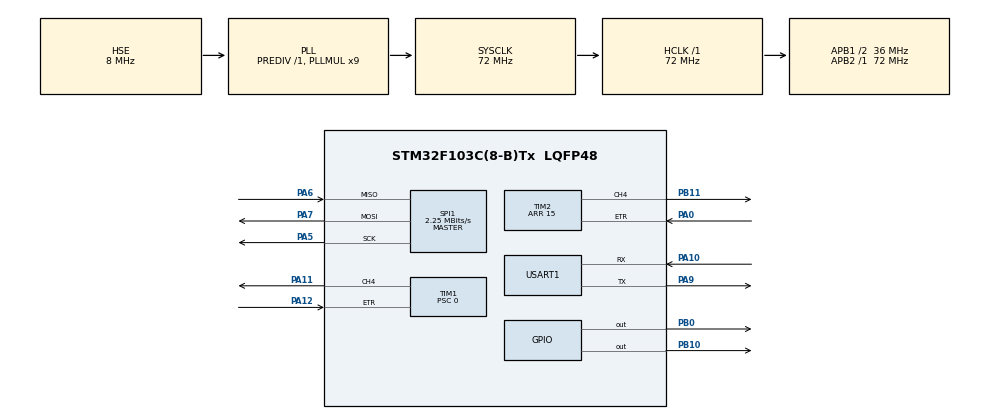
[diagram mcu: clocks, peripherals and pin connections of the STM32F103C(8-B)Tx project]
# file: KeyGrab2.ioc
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Dma.Request0=USART1_RX
Dma.USART1_RX.0.Direction=DMA_PERIPH_TO_MEMORY
Dma.USART1_RX.0.Instance=DMA1_Channel5
Dma.USART1_RX.0.MemDataAlignment=DMA_MDATAALIGN_BYTE
Dma.USART1_RX.0.MemInc=DMA_MINC_ENABLE
Dma.USART1_RX.0.Mode=DMA_NORMAL
Dma.USART1_RX.0.PeriphDataAlignment=DMA_PDATAALIGN_BYTE
Dma.USART1_RX.0.PeriphInc=DMA_PINC_DISABLE
Dma.USART1_RX.0.Priority=DMA_PRIORITY_LOW
Mcu.Family=STM32F1
Mcu.Name=STM32F103C(8-B)Tx
Mcu.Package=LQFP48
NVIC.DMA1_Channel5_IRQn=true\:0\:0\:false\:false\:true\:false\:true
NVIC.PriorityGroup=NVIC_PRIORITYGROUP_4
PA0-WKUP.Signal=S_TIM2_CH1_ETR
PA10.Mode=Asynchronous
PA10.Signal=USART1_RX
PA11.GPIO_Speed=GPIO_SPEED_FREQ_HIGH
PA11.Signal=S_TIM1_CH4
PA12.Signal=S_TIM1_ETR
PA13.Mode=Serial_Wire
PA13.Signal=SYS_JTMS-SWDIO
PA14.Mode=Serial_Wire
PA14.Signal=SYS_JTCK-SWCLK
PA5.Mode=Full_Duplex_Master
PA5.Signal=SPI1_SCK
PA6.Mode=Full_Duplex_Master
PA6.Signal=SPI1_MISO
PA7.Mode=Full_Duplex_Master
PA7.Signal=SPI1_MOSI
PA9.Mode=Asynchronous
PA9.Signal=USART1_TX
PB0.GPIO_Speed=GPIO_SPEED_FREQ_HIGH
PB0.Signal=GPIO_Output
PB10.PinState=GPIO_PIN_RESET
PB10.Signal=GPIO_Output
PB11.GPIO_Speed=GPIO_SPEED_FREQ_HIGH
PB11.Signal=S_TIM2_CH4
PD0-OSC_IN.Mode=HSE-External-Oscillator
PD0-OSC_IN.Signal=RCC_OSC_IN
PD1-OSC_OUT.Mode=HSE-External-Oscillator
PD1-OSC_OUT.Signal=RCC_OSC_OUT
ProjectManager.HeapSize=0x400
ProjectManager.StackSize=0x800
ProjectManager.TargetToolchain=EWARM V7
RCC.AHBFreq_Value=72000000
RCC.APB1CLKDivider=RCC_HCLK_DIV2
RCC.APB1Freq_Value=36000000
RCC.APB1TimFreq_Value=72000000
RCC.APB2Freq_Value=72000000
RCC.APB2TimFreq_Value=72000000
RCC.HCLKFreq_Value=72000000
RCC.PLLMUL=RCC_PLL_MUL9
RCC.PLLSourceVirtual=RCC_PLLSOURCE_HSE
RCC.SYSCLKFreq_VALUE=72000000
RCC.SYSCLKSource=RCC_SYSCLKSOURCE_PLLCLK
RCC.USBFreq_Value=72000000
SH.S_TIM1_CH4.0=TIM1_CH4,Output Compare4 CH4
SH.S_TIM1_ETR.0=TIM1_ETR,ClockSourceETR_Mode2
SH.S_TIM2_CH1_ETR.0=TIM2_ETR,ClockSourceETR_Mode2
SH.S_TIM2_CH4.0=TIM2_CH4,PWM Generation4 CH4
SPI1.BaudRatePrescaler=SPI_BAUDRATEPRESCALER_32
SPI1.CalculateBaudRate=2.25 MBits/s
SPI1.Direction=SPI_DIRECTION_2LINES
SPI1.FirstBit=SPI_FIRSTBIT_LSB
SPI1.Mode=SPI_MODE_MASTER
SPI1.VirtualType=VM_MASTER
TIM1.Channel-Output\ Compare4\ CH4=TIM_CHANNEL_4
TIM1.OCIdleState_4=TIM_OCIDLESTATE_SET
TIM1.OCMode_4=TIM_OCMODE_TOGGLE
TIM1.OCPolarity_4=TIM_OCPOLARITY_LOW
TIM1.Period=65535
TIM1.Prescaler=0
TIM1.Pulse-Output\ Compare4\ CH4=65535
TIM1.TIM_MasterOutputTrigger=TIM_TRGO_OC4REF
TIM1.TIM_MasterSlaveMode=TIM_MASTERSLAVEMODE_DISABLE
TIM2.Channel-PWM\ Generation4\ CH4=TIM_CHANNEL_4
TIM2.OCPolarity_4=TIM_OCPOLARITY_HIGH
TIM2.Period=15
TIM2.Pulse-PWM\ Generation4\ CH4=7
USART1.VirtualMode=VM_ASYNC
VP_TIM2_VS_ClockSourceITR.Mode=TriggerSource_ITR0
VP_TIM2_VS_ControllerModeGated.Mode=Gated Mode
board=custom

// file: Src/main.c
/* USER CODE BEGIN Header */
//#define DEBUG
/* USER CODE END Header */

#include "main.h"

/* USER CODE BEGIN Includes */

#include "pn532.h"
#include "Vcard.h"
#include "MifClass.h"

/* USER CODE END Includes */

SPI_HandleTypeDef hspi1;

TIM_HandleTypeDef htim1;
TIM_HandleTypeDef htim2;

UART_HandleTypeDef huart1;
DMA_HandleTypeDef hdma_usart1_rx;

/* USER CODE BEGIN PV */

extern uint8_t UidCL1[], uidLength;  //  UID
extern uint8_t Tx[512];
extern uint16_t  fv_1;
uint8_t Wait_Tag[] = {"\n\rWaiting Tag"};
uint8_t N_con_A[] = {"\n\rNot connected PN532_A\n\r"};
uint8_t CRLF[] = {'\n','\r'};
uint8_t RxOK;

/* USER CODE END PV */

void SystemClock_Config(void);
static void MX_GPIO_Init(void);
static void MX_DMA_Init(void);
static void MX_TIM2_Init(void);
static void MX_SPI1_Init(void);
static void MX_USART1_UART_Init(void);
static void MX_TIM1_Init(void);

/* USER CODE BEGIN 0 */

void HAL_UART_RxCpltCallback( UART_HandleTypeDef *  huart ) {

	RxOK = 1;
}

/* USER CODE END 0 */

int main(void)
{
  /* USER CODE BEGIN 1 */
	  uint8_t t, tmp, i = 0;

  /* USER CODE END 1 */

  /* MCU Configuration--------------------------------------------------------*/

  /* Reset of all peripherals, Initializes the Flash interface and the Systick. */
  HAL_Init();

  /* Configure the system clock */
  SystemClock_Config();

  /* Initialize all configured peripherals */
  MX_GPIO_Init();
  MX_DMA_Init();
  MX_TIM2_Init();
  MX_SPI1_Init();
  MX_USART1_UART_Init();
  MX_TIM1_Init();
  /* USER CODE BEGIN 2 */

  CS_LOW(&hspi1);
  HAL_Delay(1);
  CS_HIGH(&hspi1);

  for(i = 0;(i < 5) && !(fv_1 = getFirmwareVersion(&hspi1)); i++);			// Проверка подключения PN532
  if(i == 5){
	   HAL_UART_Transmit(&huart1,N_con_A,(sizeof(N_con_A) - 1),1000);
	   HAL_SPI_MspDeInit(&hspi1);
	   HAL_TIM_Base_MspDeInit(&htim1);
	   HAL_TIM_Base_MspDeInit(&htim2);
	   HAL_UART_MspDeInit(&huart1);
	   HAL_GPIO_DeInit(GPIOB, GPIO_PIN_0|GPIO_PIN_10);
	   while(1){
		   __WFI();
	   }
  }
  SAM_Config(&hspi1);

#ifndef DEBUG

  RxOK = 0;
  HAL_UART_Receive_DMA(&huart1, Tx, 11);
  HAL_UART_Transmit(&huart1,CRLF,sizeof(CRLF),1000);
  while(1){	// Ожидание UID
	  if( readPassiveTargetID(&hspi1,PN532_MIFARE_ISO14443A, UidCL1, &uidLength, 500) ){
		t = sprintf((char *) Tx,"\n\rFound  Tag with  UID    %2.2X %2.2X %2.2X %2.2X\n\r",UidCL1[0],UidCL1[1],UidCL1[2],UidCL1[3]);
		HAL_UART_Transmit(&huart1, (uint8_t *)Tx, t, 1000);
		break;
	  }
	  if( RxOK ){
		  Tx[11] = 0;
		  int s = sscanf((char *)Tx,"%hhx %hhx %hhx %hhx",&UidCL1[0], &UidCL1[1], &UidCL1[2], &UidCL1[3]);
		  if(s == 4){
			t = sprintf((char *) Tx,"\n\rInput  UID    %2.2X %2.2X %2.2X %2.2X\n\r",UidCL1[0],UidCL1[1],UidCL1[2],UidCL1[3]);
			HAL_UART_Transmit(&huart1, (uint8_t *)Tx, t, 1000);
			break;
		  }else{
			t = sprintf((char *) Tx,"\n\rERROR Input  UID\n\r");
			HAL_UART_Transmit(&huart1, (uint8_t *)Tx, t, 1000);
			  RxOK = 0;
			  HAL_UART_Receive_DMA(&huart1, Tx, 11);
			continue;
		  }
	  }
	  tmp ='.';
	  HAL_UART_Transmit(&huart1,&tmp,1,1000);
	  HAL_Delay(20);
	  for(i = 0;(i < 5) && !(fv_1 = getFirmwareVersion(&hspi1)); i++);
	  if(i == 5){
		   HAL_UART_Transmit(&huart1,N_con_A,(sizeof(N_con_A) - 1),500);
		   while(1);
	  }
	  SAM_Config(&hspi1);

  }

#endif   //DEBUG

  /* USER CODE END 2 */

  /* Infinite loop */
  /* USER CODE BEGIN WHILE */
	InitVirtCard();
	InitPN532_1();
	MifareClassicAppInit1K();

  while (1)
  {
	  vc();

    /* USER CODE END WHILE */

  }
}

void SystemClock_Config(void)
{
  RCC_OscInitTypeDef RCC_OscInitStruct = {0};
  RCC_ClkInitTypeDef RCC_ClkInitStruct = {0};

  /** Initializes the CPU, AHB and APB busses clocks
  */
  RCC_OscInitStruct.OscillatorType = RCC_OSCILLATORTYPE_HSE;
  RCC_OscInitStruct.HSEState = RCC_HSE_ON;
  RCC_OscInitStruct.HSEPredivValue = RCC_HSE_PREDIV_DIV1;
  RCC_OscInitStruct.HSIState = RCC_HSI_ON;
  RCC_OscInitStruct.PLL.PLLState = RCC_PLL_ON;
  RCC_OscInitStruct.PLL.PLLSource = RCC_PLLSOURCE_HSE;
  RCC_OscInitStruct.PLL.PLLMUL = RCC_PLL_MUL9;
  if (HAL_RCC_OscConfig(&RCC_OscInitStruct) != HAL_OK)
  {
    Error_Handler();
  }
  /** Initializes the CPU, AHB and APB busses clocks
  */
  RCC_ClkInitStruct.ClockType = RCC_CLOCKTYPE_HCLK|RCC_CLOCKTYPE_SYSCLK
                              |RCC_CLOCKTYPE_PCLK1|RCC_CLOCKTYPE_PCLK2;
  RCC_ClkInitStruct.SYSCLKSource = RCC_SYSCLKSOURCE_PLLCLK;
  RCC_ClkInitStruct.AHBCLKDivider = RCC_SYSCLK_DIV1;
  RCC_ClkInitStruct.APB1CLKDivider = RCC_HCLK_DIV2;
  RCC_ClkInitStruct.APB2CLKDivider = RCC_HCLK_DIV1;

  if (HAL_RCC_ClockConfig(&RCC_ClkInitStruct, FLASH_LATENCY_2) != HAL_OK)
  {
    Error_Handler();
  }
}

static void MX_SPI1_Init(void)
{

  /* SPI1 parameter configuration*/
  hspi1.Instance = SPI1;
  hspi1.Init.Mode = SPI_MODE_MASTER;
  hspi1.Init.Direction = SPI_DIRECTION_2LINES;
  hspi1.Init.DataSize = SPI_DATASIZE_8BIT;
  hspi1.Init.CLKPolarity = SPI_POLARITY_LOW;
  hspi1.Init.CLKPhase = SPI_PHASE_1EDGE;
  hspi1.Init.NSS = SPI_NSS_SOFT;
  hspi1.Init.BaudRatePrescaler = SPI_BAUDRATEPRESCALER_32;
  hspi1.Init.FirstBit = SPI_FIRSTBIT_LSB;
  hspi1.Init.TIMode = SPI_TIMODE_DISABLE;
  hspi1.Init.CRCCalculation = SPI_CRCCALCULATION_DISABLE;
  hspi1.Init.CRCPolynomial = 10;
  if (HAL_SPI_Init(&hspi1) != HAL_OK)
  {
    Error_Handler();
  }

}

static void MX_TIM1_Init(void)
{

  TIM_ClockConfigTypeDef sClockSourceConfig = {0};
  TIM_MasterConfigTypeDef sMasterConfig = {0};
  TIM_OC_InitTypeDef sConfigOC = {0};
  TIM_BreakDeadTimeConfigTypeDef sBreakDeadTimeConfig = {0};

  htim1.Instance = TIM1;
  htim1.Init.Prescaler = 0;
  htim1.Init.CounterMode = TIM_COUNTERMODE_UP;
  htim1.Init.Period = 65535;
  htim1.Init.ClockDivision = TIM_CLOCKDIVISION_DIV1;
  htim1.Init.RepetitionCounter = 0;
  htim1.Init.AutoReloadPreload = TIM_AUTORELOAD_PRELOAD_DISABLE;
  if (HAL_TIM_Base_Init(&htim1) != HAL_OK)
  {
    Error_Handler();
  }
  sClockSourceConfig.ClockSource = TIM_CLOCKSOURCE_ETRMODE2;
  sClockSourceConfig.ClockPolarity = TIM_CLOCKPOLARITY_NONINVERTED;
  sClockSourceConfig.ClockPrescaler = TIM_CLOCKPRESCALER_DIV1;
  sClockSourceConfig.ClockFilter = 0;
  if (HAL_TIM_ConfigClockSource(&htim1, &sClockSourceConfig) != HAL_OK)
  {
    Error_Handler();
  }
  if (HAL_TIM_OC_Init(&htim1) != HAL_OK)
  {
    Error_Handler();
  }
  sMasterConfig.MasterOutputTrigger = TIM_TRGO_OC4REF;
  sMasterConfig.MasterSlaveMode = TIM_MASTERSLAVEMODE_DISABLE;
  if (HAL_TIMEx_MasterConfigSynchronization(&htim1, &sMasterConfig) != HAL_OK)
  {
    Error_Handler();
  }
  sConfigOC.OCMode = TIM_OCMODE_TOGGLE;
  sConfigOC.Pulse = 65535;
  sConfigOC.OCPolarity = TIM_OCPOLARITY_LOW;
  sConfigOC.OCFastMode = TIM_OCFAST_DISABLE;
  sConfigOC.OCIdleState = TIM_OCIDLESTATE_SET;
  sConfigOC.OCNIdleState = TIM_OCNIDLESTATE_RESET;
  if (HAL_TIM_OC_ConfigChannel(&htim1, &sConfigOC, TIM_CHANNEL_4) != HAL_OK)
  {
    Error_Handler();
  }
  sBreakDeadTimeConfig.OffStateRunMode = TIM_OSSR_DISABLE;
  sBreakDeadTimeConfig.OffStateIDLEMode = TIM_OSSI_DISABLE;
  sBreakDeadTimeConfig.LockLevel = TIM_LOCKLEVEL_OFF;
  sBreakDeadTimeConfig.DeadTime = 0;
  sBreakDeadTimeConfig.BreakState = TIM_BREAK_DISABLE;
  sBreakDeadTimeConfig.BreakPolarity = TIM_BREAKPOLARITY_HIGH;
  sBreakDeadTimeConfig.AutomaticOutput = TIM_AUTOMATICOUTPUT_DISABLE;
  if (HAL_TIMEx_ConfigBreakDeadTime(&htim1, &sBreakDeadTimeConfig) != HAL_OK)
  {
    Error_Handler();
  }
  HAL_TIM_MspPostInit(&htim1);

}

static void MX_TIM2_Init(void)
{

  TIM_ClockConfigTypeDef sClockSourceConfig = {0};
  TIM_SlaveConfigTypeDef sSlaveConfig = {0};
  TIM_MasterConfigTypeDef sMasterConfig = {0};
  TIM_OC_InitTypeDef sConfigOC = {0};

  htim2.Instance = TIM2;
  htim2.Init.Prescaler = 0;
  htim2.Init.CounterMode = TIM_COUNTERMODE_UP;
  htim2.Init.Period = 15;
  htim2.Init.ClockDivision = TIM_CLOCKDIVISION_DIV1;
  htim2.Init.AutoReloadPreload = TIM_AUTORELOAD_PRELOAD_DISABLE;
  if (HAL_TIM_Base_Init(&htim2) != HAL_OK)
  {
    Error_Handler();
  }
  sClockSourceConfig.ClockSource = TIM_CLOCKSOURCE_ETRMODE2;
  sClockSourceConfig.ClockPolarity = TIM_CLOCKPOLARITY_NONINVERTED;
  sClockSourceConfig.ClockPrescaler = TIM_CLOCKPRESCALER_DIV1;
  sClockSourceConfig.ClockFilter = 0;
  if (HAL_TIM_ConfigClockSource(&htim2, &sClockSourceConfig) != HAL_OK)
  {
    Error_Handler();
  }
  if (HAL_TIM_PWM_Init(&htim2) != HAL_OK)
  {
    Error_Handler();
  }
  sSlaveConfig.SlaveMode = TIM_SLAVEMODE_GATED;
  sSlaveConfig.InputTrigger = TIM_TS_ITR0;
  if (HAL_TIM_SlaveConfigSynchronization(&htim2, &sSlaveConfig) != HAL_OK)
  {
    Error_Handler();
  }
  sMasterConfig.MasterOutputTrigger = TIM_TRGO_RESET;
  sMasterConfig.MasterSlaveMode = TIM_MASTERSLAVEMODE_DISABLE;
  if (HAL_TIMEx_MasterConfigSynchronization(&htim2, &sMasterConfig) != HAL_OK)
  {
    Error_Handler();
  }
  sConfigOC.OCMode = TIM_OCMODE_PWM1;
  sConfigOC.Pulse = 7;
  sConfigOC.OCPolarity = TIM_OCPOLARITY_HIGH;
  sConfigOC.OCFastMode = TIM_OCFAST_DISABLE;
  if (HAL_TIM_PWM_ConfigChannel(&htim2, &sConfigOC, TIM_CHANNEL_4) != HAL_OK)
  {
    Error_Handler();
  }
  HAL_TIM_MspPostInit(&htim2);

}

static void MX_USART1_UART_Init(void)
{

  huart1.Instance = USART1;
  huart1.Init.BaudRate = 115200;
  huart1.Init.WordLength = UART_WORDLENGTH_8B;
  huart1.Init.StopBits = UART_STOPBITS_1;
  huart1.Init.Parity = UART_PARITY_NONE;
  huart1.Init.Mode = UART_MODE_TX_RX;
  huart1.Init.HwFlowCtl = UART_HWCONTROL_NONE;
  huart1.Init.OverSampling = UART_OVERSAMPLING_16;
  if (HAL_UART_Init(&huart1) != HAL_OK)
  {
    Error_Handler();
  }

}

static void MX_DMA_Init(void)
{
  /* DMA controller clock enable */
  __HAL_RCC_DMA1_CLK_ENABLE();

  /* DMA interrupt init */
  /* DMA1_Channel5_IRQn interrupt configuration */
  HAL_NVIC_SetPriority(DMA1_Channel5_IRQn, 0, 0);
  HAL_NVIC_EnableIRQ(DMA1_Channel5_IRQn);

}

static void MX_GPIO_Init(void)
{
  GPIO_InitTypeDef GPIO_InitStruct = {0};

  /* GPIO Ports Clock Enable */
  __HAL_RCC_GPIOD_CLK_ENABLE();
  __HAL_RCC_GPIOA_CLK_ENABLE();
  __HAL_RCC_GPIOB_CLK_ENABLE();

  /*Configure GPIO pin Output Level */
  HAL_GPIO_WritePin(GPIOB, GPIO_PIN_0|GPIO_PIN_10, GPIO_PIN_RESET);

  /*Configure GPIO pin : PB0 */
  GPIO_InitStruct.Pin = GPIO_PIN_0;
  GPIO_InitStruct.Mode = GPIO_MODE_OUTPUT_PP;
  GPIO_InitStruct.Pull = GPIO_NOPULL;
  GPIO_InitStruct.Speed = GPIO_SPEED_FREQ_HIGH;
  HAL_GPIO_Init(GPIOB, &GPIO_InitStruct);

  /*Configure GPIO pin : PB10 */
  GPIO_InitStruct.Pin = GPIO_PIN_10;
  GPIO_InitStruct.Mode = GPIO_MODE_OUTPUT_PP;
  GPIO_InitStruct.Pull = GPIO_NOPULL;
  GPIO_InitStruct.Speed = GPIO_SPEED_FREQ_LOW;
  HAL_GPIO_Init(GPIOB, &GPIO_InitStruct);

}

void Error_Handler(void)
{
}

/************************ (C) COPYRIGHT STMicroelectronics *****END OF FILE****/
